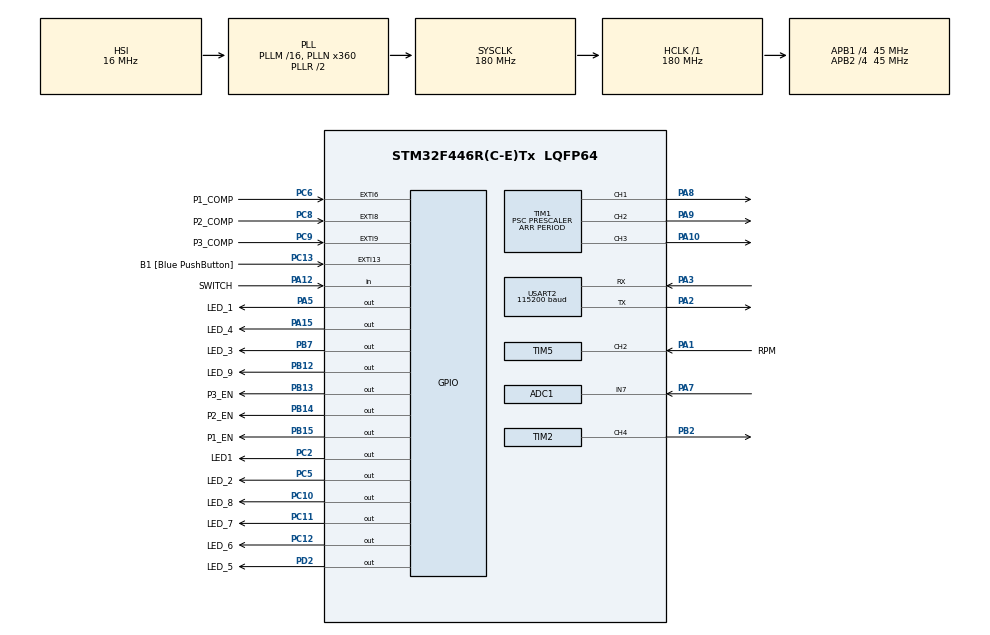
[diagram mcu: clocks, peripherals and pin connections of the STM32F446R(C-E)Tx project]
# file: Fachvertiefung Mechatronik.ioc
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ADC1.Channel-17\#ChannelRegularConversion=ADC_CHANNEL_7
ADC1.ClockPrescaler=ADC_CLOCK_SYNC_PCLK_DIV2
ADC1.ContinuousConvMode=ENABLE
ADC1.DMAContinuousRequests=DISABLE
ADC1.DataAlign=ADC_DATAALIGN_RIGHT
ADC1.DiscontinuousConvMode=DISABLE
ADC1.EOCSelection=ADC_EOC_SEQ_CONV
ADC1.EnableAnalogWatchDog=false
ADC1.ExternalTrigConv=ADC_SOFTWARE_START
ADC1.ExternalTrigConvEdge=ADC_EXTERNALTRIGCONVEDGE_NONE
ADC1.InjNumberOfConversion=0
ADC1.NbrOfConversion=1
ADC1.NbrOfConversionFlag=1
ADC1.Rank-17\#ChannelRegularConversion=1
ADC1.Resolution=ADC_RESOLUTION_12B
ADC1.SamplingTime-17\#ChannelRegularConversion=ADC_SAMPLETIME_3CYCLES
ADC1.ScanConvMode=ENABLE
ADC1.master=1
Dma.Request0=USART2_RX
Dma.Request1=USART2_TX
Dma.USART2_RX.0.Direction=DMA_PERIPH_TO_MEMORY
Dma.USART2_RX.0.FIFOMode=DMA_FIFOMODE_DISABLE
Dma.USART2_RX.0.Instance=DMA1_Stream5
Dma.USART2_RX.0.MemDataAlignment=DMA_MDATAALIGN_BYTE
Dma.USART2_RX.0.MemInc=DMA_MINC_ENABLE
Dma.USART2_RX.0.Mode=DMA_CIRCULAR
Dma.USART2_RX.0.PeriphDataAlignment=DMA_PDATAALIGN_BYTE
Dma.USART2_RX.0.PeriphInc=DMA_PINC_DISABLE
Dma.USART2_RX.0.Priority=DMA_PRIORITY_LOW
Dma.USART2_TX.1.Direction=DMA_MEMORY_TO_PERIPH
Dma.USART2_TX.1.FIFOMode=DMA_FIFOMODE_DISABLE
Dma.USART2_TX.1.Instance=DMA1_Stream6
Dma.USART2_TX.1.MemDataAlignment=DMA_MDATAALIGN_BYTE
Dma.USART2_TX.1.MemInc=DMA_MINC_ENABLE
Dma.USART2_TX.1.Mode=DMA_CIRCULAR
Dma.USART2_TX.1.PeriphDataAlignment=DMA_PDATAALIGN_BYTE
Dma.USART2_TX.1.PeriphInc=DMA_PINC_DISABLE
Dma.USART2_TX.1.Priority=DMA_PRIORITY_LOW
Mcu.Family=STM32F4
Mcu.Name=STM32F446R(C-E)Tx
Mcu.Package=LQFP64
Mcu.UserConstants=PERIOD,100;PRESCALER,49
NVIC.DMA1_Stream5_IRQn=true\:0\:0\:false\:false\:true\:false
NVIC.DMA1_Stream6_IRQn=true\:0\:0\:false\:false\:true\:false
NVIC.EXTI9_5_IRQn=true\:0\:0\:false\:false\:true\:true
NVIC.PriorityGroup=NVIC_PRIORITYGROUP_0
NVIC.TIM1_BRK_TIM9_IRQn=true\:0\:0\:false\:false\:true\:true
NVIC.TIM1_TRG_COM_TIM11_IRQn=true\:0\:0\:false\:false\:true\:true
NVIC.TIM1_UP_TIM10_IRQn=true\:0\:0\:false\:false\:true\:true
NVIC.TIM2_IRQn=true\:0\:0\:false\:false\:true\:true
NVIC.TIM5_IRQn=true\:0\:0\:false\:false\:true\:true
NVIC.TIM6_DAC_IRQn=true\:0\:0\:false\:false\:true\:true
NVIC.TIM8_UP_TIM13_IRQn=true\:0\:0\:false\:false\:true\:true
PA1.GPIO_Label=RPM
PA1.Signal=S_TIM5_CH2
PA10.Signal=S_TIM1_CH3
PA12.GPIO_Label=SWITCH
PA12.GPIO_PuPd=GPIO_PULLUP
PA12.Signal=GPIO_Input
PA13.GPIO_Label=TMS
PA13.Mode=Serial_Wire
PA13.Signal=SYS_JTMS-SWDIO
PA14.GPIO_Label=TCK
PA14.Mode=Serial_Wire
PA14.Signal=SYS_JTCK-SWCLK
PA15.GPIO_Label=LED_4
PA15.Signal=GPIO_Output
PA2.Mode=Asynchronous
PA2.Signal=USART2_TX
PA3.Mode=Asynchronous
PA3.Signal=USART2_RX
PA5.GPIO_Label=LED_1
PA5.Signal=GPIO_Output
PA7.Signal=ADCx_IN7
PA8.Signal=S_TIM1_CH1
PA9.Signal=S_TIM1_CH2
PB12.GPIO_Label=LED_9
PB12.Signal=GPIO_Output
PB13.GPIO_Label=P3_EN
PB13.Signal=GPIO_Output
PB14.GPIO_Label=P2_EN
PB14.Signal=GPIO_Output
PB15.GPIO_Label=P1_EN
PB15.Signal=GPIO_Output
PB2.GPIO_Speed=GPIO_SPEED_FREQ_LOW
PB2.Signal=S_TIM2_CH4
PB3.GPIO_Label=SWO
PB3.Signal=SYS_JTDO-SWO
PB7.GPIO_Label=LED_3
PB7.Signal=GPIO_Output
PC10.GPIO_Label=LED_8
PC10.Signal=GPIO_Output
PC11.GPIO_Label=LED_7
PC11.Signal=GPIO_Output
PC12.GPIO_Label=LED_6
PC12.Signal=GPIO_Output
PC13.GPIO_Label=B1 [Blue PushButton]
PC13.GPIO_ModeDefaultEXTI=GPIO_MODE_IT_FALLING
PC13.GPIO_PuPd=GPIO_PULLUP
PC13.Signal=GPXTI13
PC14-OSC32_IN.Mode=LSE-External-Oscillator
PC14-OSC32_IN.Signal=RCC_OSC32_IN
PC15-OSC32_OUT.Mode=LSE-External-Oscillator
PC15-OSC32_OUT.Signal=RCC_OSC32_OUT
PC2.GPIO_Label=LED1
PC2.Signal=GPIO_Output
PC5.GPIO_Label=LED_2
PC5.Signal=GPIO_Output
PC6.GPIO_Label=P1_COMP
PC6.GPIO_ModeDefaultEXTI=GPIO_MODE_IT_RISING_FALLING
PC6.Signal=GPXTI6
PC8.GPIO_Label=P2_COMP
PC8.GPIO_ModeDefaultEXTI=GPIO_MODE_IT_RISING_FALLING
PC8.Signal=GPXTI8
PC9.GPIO_Label=P3_COMP
PC9.GPIO_ModeDefaultEXTI=GPIO_MODE_IT_RISING_FALLING
PC9.Signal=GPXTI9
PD2.GPIO_Label=LED_5
PD2.Signal=GPIO_Output
PH0-OSC_IN.Mode=HSE-External-Oscillator
PH0-OSC_IN.Signal=RCC_OSC_IN
PH1-OSC_OUT.Mode=HSE-External-Oscillator
PH1-OSC_OUT.Signal=RCC_OSC_OUT
ProjectManager.HeapSize=0x200
ProjectManager.StackSize=0x400
ProjectManager.TargetToolchain=TrueSTUDIO
RCC.48MHZClocksFreq_Value=84000000
RCC.AHBFreq_Value=180000000
RCC.APB1CLKDivider=RCC_HCLK_DIV4
RCC.APB1Freq_Value=45000000
RCC.APB1TimFreq_Value=90000000
RCC.APB2CLKDivider=RCC_HCLK_DIV4
RCC.APB2Freq_Value=45000000
RCC.APB2TimFreq_Value=90000000
RCC.CortexFreq_Value=180000000
RCC.FLatency-AdvancedSettings=FLASH_LATENCY_5
RCC.HCLKFreq_Value=180000000
RCC.HSE_VALUE=8000000
RCC.HSI_VALUE=16000000
RCC.PLLN=360
RCC.SYSCLKFreq_VALUE=180000000
RCC.SYSCLKSource=RCC_SYSCLKSOURCE_PLLRCLK
RCC.USBFreq_Value=180000000
RCC.VCOOutputFreq_Value=360000000
SH.ADCx_IN7.0=ADC1_IN7,IN7
SH.S_TIM1_CH1.0=TIM1_CH1,PWM Generation1 CH1
SH.S_TIM1_CH2.0=TIM1_CH2,PWM Generation2 CH2
SH.S_TIM1_CH3.0=TIM1_CH3,PWM Generation3 CH3
SH.S_TIM2_CH4.0=TIM2_CH4,PWM Generation4 CH4
SH.S_TIM5_CH2.0=TIM5_CH2,Input_Capture2_from_TI2
TIM1.Channel-PWM\ Generation1\ CH1=TIM_CHANNEL_1
TIM1.Channel-PWM\ Generation2\ CH2=TIM_CHANNEL_2
TIM1.Channel-PWM\ Generation3\ CH3=TIM_CHANNEL_3
TIM1.Period=PERIOD
TIM1.Prescaler=PRESCALER
TIM1.TIM_MasterOutputTrigger=TIM_TRGO_UPDATE
TIM10.Period=65535
TIM10.Prescaler=899
TIM11.Period=60000
TIM11.Prescaler=1499
TIM2.Channel-PWM\ Generation4\ CH4=TIM_CHANNEL_4
TIM2.OCFastMode_PWM-PWM\ Generation4\ CH4=TIM_OCFAST_ENABLE
TIM2.Period=111
TIM5.Channel-Input_Capture2_from_TI2=TIM_CHANNEL_2
TIM5.Period=65535
TIM5.Prescaler=89
TIM6.Period=65535
TIM6.Prescaler=999
TIM7.Period=65535
TIM7.Prescaler=89
TIM8.Period=65535
TIM8.Prescaler=8
TIM9.Period=2000
TIM9.Prescaler=4999
USART2.BaudRate=115200
USART2.VirtualMode=VM_ASYNC
VP_TIM10_VS_ClockSourceINT.Mode=Enable_Timer
VP_TIM11_VS_ClockSourceINT.Mode=Enable_Timer
VP_TIM1_VS_ClockSourceINT.Mode=Internal
VP_TIM6_VS_ClockSourceINT.Mode=Enable_Timer
VP_TIM7_VS_ClockSourceINT.Mode=Enable_Timer
VP_TIM8_VS_ClockSourceINT.Mode=Internal
VP_TIM9_VS_ClockSourceINT.Mode=Internal
board=NUCLEO-F446RE

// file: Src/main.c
/**
  ******************************************************************************
  * @file           : main.c
  * @brief          : Main program body
  ******************************************************************************
  ** This notice applies to any and all portions of this file
  * that are not between comment pairs USER CODE BEGIN and
  * USER CODE END. Other portions of this file, whether
  * inserted by the user or by software development tools
  * are owned by their respective copyright owners.
  *
  * COPYRIGHT(c) 2019 STMicroelectronics
  *
  * Redistribution and use in source and binary forms, with or without modification,
  * are permitted provided that the following conditions are met:
  *   1. Redistributions of source code must retain the above copyright notice,
  *      this list of conditions and the following disclaimer.
  *   2. Redistributions in binary form must reproduce the above copyright notice,
  *      this list of conditions and the following disclaimer in the documentation
  *      and/or other materials provided with the distribution.
  *   3. Neither the name of STMicroelectronics nor the names of its contributors
  *      may be used to endorse or promote products derived from this software
  *      without specific prior written permission.
  *
  * THIS SOFTWARE IS PROVIDED BY THE COPYRIGHT HOLDERS AND CONTRIBUTORS "AS IS"
  * AND ANY EXPRESS OR IMPLIED WARRANTIES, INCLUDING, BUT NOT LIMITED TO, THE
  * IMPLIED WARRANTIES OF MERCHANTABILITY AND FITNESS FOR A PARTICULAR PURPOSE ARE
  * DISCLAIMED. IN NO EVENT SHALL THE COPYRIGHT HOLDER OR CONTRIBUTORS BE LIABLE
  * FOR ANY DIRECT, INDIRECT, INCIDENTAL, SPECIAL, EXEMPLARY, OR CONSEQUENTIAL
  * DAMAGES (INCLUDING, BUT NOT LIMITED TO, PROCUREMENT OF SUBSTITUTE GOODS OR
  * SERVICES; LOSS OF USE, DATA, OR PROFITS; OR BUSINESS INTERRUPTION) HOWEVER
  * CAUSED AND ON ANY THEORY OF LIABILITY, WHETHER IN CONTRACT, STRICT LIABILITY,
  * OR TORT (INCLUDING NEGLIGENCE OR OTHERWISE) ARISING IN ANY WAY OUT OF THE USE
  * OF THIS SOFTWARE, EVEN IF ADVISED OF THE POSSIBILITY OF SUCH DAMAGE.
  *
  ******************************************************************************
  */
#include "main.h"
#include "stm32f4xx_hal.h"
#include "adc.h"
#include "dma.h"
#include "tim.h"
#include "usart.h"
#include "gpio.h"

/* USER CODE BEGIN Includes */
#include "commutation.h"
#include "terminal.h"
/* USER CODE END Includes */

/* USER CODE BEGIN PV */
/* Private variables ---------------------------------------------------------*/

/* USER CODE END PV */

void SystemClock_Config(void);

/* USER CODE BEGIN PFP */
/* Private function prototypes -----------------------------------------------*/

/* USER CODE END PFP */

/* USER CODE BEGIN 0 */
volatile uint16_t blinkDelay = 1000;

uint8_t pData[] = {0x55};
/* USER CODE END 0 */

int main(void)
{

  /* MCU Configuration----------------------------------------------------------*/

  /* Reset of all peripherals, Initializes the Flash interface and the Systick. */
  HAL_Init();

  /* Configure the system clock */
  SystemClock_Config();

  /* Initialize all configured peripherals */
  MX_GPIO_Init();
  MX_DMA_Init();
  MX_TIM1_Init();
  MX_ADC1_Init();
  MX_TIM6_Init();
  MX_TIM2_Init();
  MX_TIM7_Init();
  MX_USART2_UART_Init();
  MX_TIM8_Init();
  MX_TIM9_Init();
  MX_TIM10_Init();
  MX_TIM11_Init();
  MX_TIM5_Init();
  /* USER CODE BEGIN 2 */

  commutation_start();

  HAL_TIM_Base_Start_IT(&htim6);
//  HAL_TIM_Base_Start(&htim6);

  HAL_TIM_Base_Start(&htim7);

//  HAL_TIM_Base_Start_IT(&htim8);
//  HAL_TIM_Base_Start(&htim8);

  HAL_TIM_Base_Start(&htim10);

  HAL_NVIC_DisableIRQ(EXTI9_5_IRQn);

  HAL_TIM_Base_Start_IT(&htim9);
  HAL_TIM_Base_Start_IT(&htim11);

  // ADC
  HAL_ADC_Start(&hadc1);

  // TIM2
  LL_TIM_EnableIT_UPDATE(TIM2);
  //LL_TIM_EnableCounter(TIM2);
  LL_TIM_CC_EnableChannel(TIM2, LL_TIM_CHANNEL_CH4);

  terminal_rx_start();

  HAL_TIM_IC_Start_IT(&htim5, TIM_CHANNEL_2);

  /* USER CODE END 2 */

  /* Infinite loop */
  while (1)
  {

  }

}

void SystemClock_Config(void)
{

  RCC_OscInitTypeDef RCC_OscInitStruct;
  RCC_ClkInitTypeDef RCC_ClkInitStruct;

    /**Configure the main internal regulator output voltage
    */
  __HAL_RCC_PWR_CLK_ENABLE();

  __HAL_PWR_VOLTAGESCALING_CONFIG(PWR_REGULATOR_VOLTAGE_SCALE1);

    /**Initializes the CPU, AHB and APB busses clocks
    */
  RCC_OscInitStruct.OscillatorType = RCC_OSCILLATORTYPE_HSI;
  RCC_OscInitStruct.HSIState = RCC_HSI_ON;
  RCC_OscInitStruct.HSICalibrationValue = 16;
  RCC_OscInitStruct.PLL.PLLState = RCC_PLL_ON;
  RCC_OscInitStruct.PLL.PLLSource = RCC_PLLSOURCE_HSI;
  RCC_OscInitStruct.PLL.PLLM = 16;
  RCC_OscInitStruct.PLL.PLLN = 360;
  RCC_OscInitStruct.PLL.PLLP = RCC_PLLP_DIV2;
  RCC_OscInitStruct.PLL.PLLQ = 2;
  RCC_OscInitStruct.PLL.PLLR = 2;
  if (HAL_RCC_OscConfig(&RCC_OscInitStruct) != HAL_OK)
  {
    _Error_Handler(__FILE__, __LINE__);
  }

    /**Activate the Over-Drive mode
    */
  if (HAL_PWREx_EnableOverDrive() != HAL_OK)
  {
    _Error_Handler(__FILE__, __LINE__);
  }

    /**Initializes the CPU, AHB and APB busses clocks
    */
  RCC_ClkInitStruct.ClockType = RCC_CLOCKTYPE_HCLK|RCC_CLOCKTYPE_SYSCLK
                              |RCC_CLOCKTYPE_PCLK1|RCC_CLOCKTYPE_PCLK2;
  RCC_ClkInitStruct.SYSCLKSource = RCC_SYSCLKSOURCE_PLLRCLK;
  RCC_ClkInitStruct.AHBCLKDivider = RCC_SYSCLK_DIV1;
  RCC_ClkInitStruct.APB1CLKDivider = RCC_HCLK_DIV4;
  RCC_ClkInitStruct.APB2CLKDivider = RCC_HCLK_DIV4;

  if (HAL_RCC_ClockConfig(&RCC_ClkInitStruct, FLASH_LATENCY_5) != HAL_OK)
  {
    _Error_Handler(__FILE__, __LINE__);
  }

    /**Configure the Systick interrupt time
    */
  HAL_SYSTICK_Config(HAL_RCC_GetHCLKFreq()/1000);

    /**Configure the Systick
    */
  HAL_SYSTICK_CLKSourceConfig(SYSTICK_CLKSOURCE_HCLK);

  /* SysTick_IRQn interrupt configuration */
  HAL_NVIC_SetPriority(SysTick_IRQn, 0, 0);
}

void _Error_Handler(char *file, int line)
{
  while(1)
  {
  }
}

/************************ (C) COPYRIGHT STMicroelectronics *****END OF FILE****/
